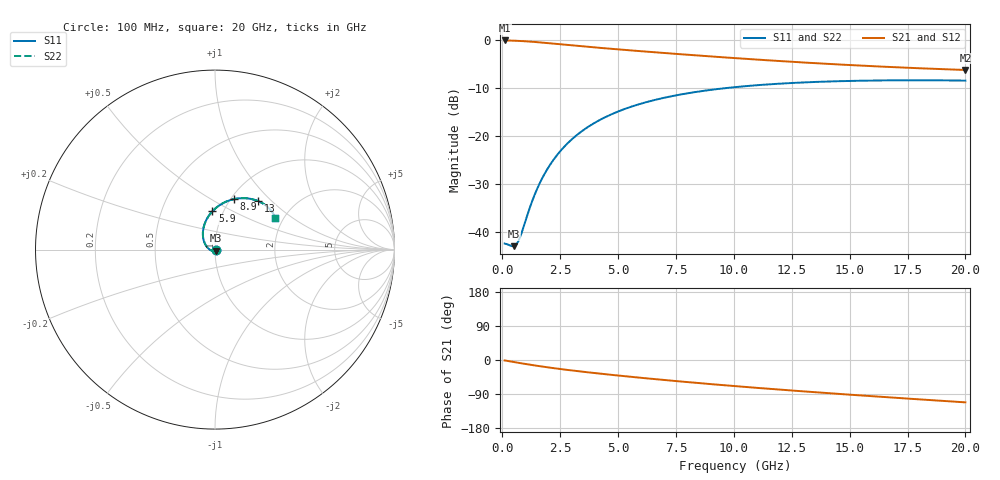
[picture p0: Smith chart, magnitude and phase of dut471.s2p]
! Touchstone file exported from HFSS 2024.1.0
!  File:  C:/UserFiles/LocalFiles/RDL_TSV_Batchsim/temp_RDL_TSV_471_1779729910.aedt
!  Generated:  01:47:50 AM May 26, 2026
!  Design:  RDL_TSV
!  Project:  temp_RDL_TSV_471_1779729910
!  Setup:  Setup1
!  Solution:  Sweep
! Variables:
!  dtsv = 7.35um
!  hbump = 3um
!  htsv = 97.86um
!  ldown = 151.1um
!  lrdl = 148.43um
!  p = 40
!  p1 = 52.94um
!  rhole = 10um
!  subl = 1047.02um
!  t = 450um
!  tdown = 3.92um
!  trdl = 4.16um
!  viad = 10um
!  wdown = 13.2um
!  wrdl = 17.53um
!  xbump = 18um
# GHz S MA R 50.000000
! Terminal data exported
! Port[1] = TM1_1_T1
! Port[2] = TM1_4_T1
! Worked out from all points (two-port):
!   200 points, 100 MHz to 20 GHz, reference 50 ohm
!   highest |S21| = -0.07 dB at 100 MHz (marker M1); lowest = -6.2 dB at 20 GHz (marker M2)
!   |S21| within 3 dB of the highest: start of sweep to 8.054 GHz
!   lowest |S11| = -43.0 dB at 500 MHz (marker M3), VSWR 1.01, Z = 50.3 - j0.643 ohm
!   |S11| at or under -10 dB: start of sweep to 9.661 GHz
!   |S22| runs from -43.0 to -8.4 dB; largest |S21 - S12| = 1.5e-14
!   S11 on the Smith chart (normalised r, x): 100 MHz: 1.01, -0.00; 5.9 GHz: 0.89, +0.40; 8.9 GHz: 1.04, +0.64; 13 GHz: 1.34, +0.83; 20 GHz: 1.82, +0.74
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0.1  0.007556 -10.1  0.9921 -1.1  0.9921 -1.1  0.007556 -10.1
! Gamma 0 0 0 0
! Port Impedance 50 0 50 0
0.5  0.007098 -64.2  0.9867 -5.4  0.9867 -5.4  0.007096 -64.2
0.6  0.007359 -82.1  0.9845 -6.4  0.9845 -6.4  0.007356 -82.1
0.7  0.008051 -100.0  0.9819 -7.5  0.9819 -7.5  0.008048 -100.0
0.8  0.009239 -116.4  0.9791 -8.5  0.9791 -8.5  0.009236 -116.4
1.2  0.01821 -159.9  0.9651 -12.5  0.9651 -12.5  0.01821 -160.0
1.4  0.02447 -172.9  0.9568 -14.4  0.9568 -14.4  0.02448 -172.9
1.6  0.03155 177.0  0.948 -16.2  0.948 -16.2  0.03155 177.0
1.9  0.0433 165.0  0.9342 -18.8  0.9342 -18.8  0.0433 165.0
2.2  0.05601 155.3  0.92 -21.4  0.92 -21.4  0.05602 155.3
2.6  0.07388 144.5  0.901 -24.5  0.901 -24.5  0.07389 144.5
3  0.09225 135.5  0.8825 -27.6  0.8825 -27.6  0.09226 135.5
3.5  0.1152 125.9  0.8603 -31.1  0.8603 -31.1  0.1153 125.9
4.6  0.1637 109.0  0.8158 -38.4  0.8158 -38.4  0.1637 109.0
5.9  0.2143 93.8  0.7694 -46.4  0.7694 -46.4  0.2143 93.8
6.8  0.2446 85.2  0.74 -51.7  0.74 -51.7  0.2446 85.2
8.9  0.3005 69.4  0.6788 -63.1  0.6788 -63.1  0.3006 69.4
10.1  0.3243 62.1  0.6479 -69.2  0.6479 -69.2  0.3243 62.1
13  0.362 48.2  0.5847 -82.8  0.5847 -82.8  0.362 48.2
13.4  0.3654 46.6  0.5772 -84.6  0.5772 -84.6  0.3654 46.6
16.7  0.3805 35.5  0.5252 -98.6  0.5252 -98.6  0.3805 35.5
20  0.3783 27.5  0.4884 -111.8  0.4884 -111.8  0.3783 27.5
